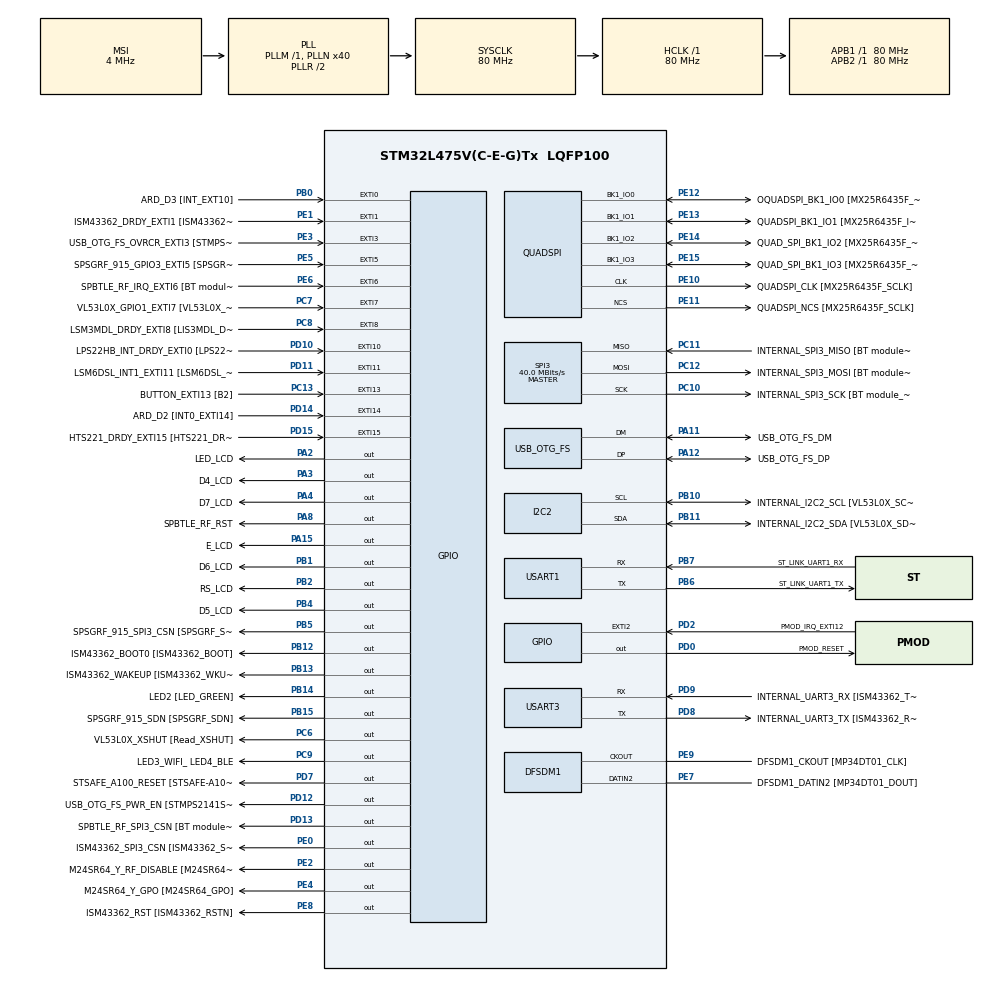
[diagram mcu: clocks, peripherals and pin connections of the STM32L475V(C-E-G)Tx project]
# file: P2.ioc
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Mcu.Family=STM32L4
Mcu.Name=STM32L475V(C-E-G)Tx
Mcu.Package=LQFP100
NVIC.EXTI15_10_IRQn=true\:0\:0\:false\:false\:true\:true\:true
NVIC.EXTI9_5_IRQn=true\:0\:0\:false\:false\:true\:true\:true
NVIC.PriorityGroup=NVIC_PRIORITYGROUP_4
PA0.GPIO_Label=ARD_D1 [UART4_TX]
PA0.Signal=UART4_TX
PA1.GPIO_Label=ARD_D0 [UART4_RX]
PA1.Signal=UART4_RX
PA10.GPIO_Label=USB_OTG_FS_ID
PA10.Signal=USB_OTG_FS_ID
PA11.GPIO_Label=USB_OTG_FS_DM
PA11.Mode=Device_Only
PA11.Signal=USB_OTG_FS_DM
PA12.GPIO_Label=USB_OTG_FS_DP
PA12.Mode=Device_Only
PA12.Signal=USB_OTG_FS_DP
PA13\ (JTMS-SWDIO).GPIO_Label=SYS_JTMS_SWDIO
PA13\ (JTMS-SWDIO).Mode=Serial_Wire
PA13\ (JTMS-SWDIO).Signal=SYS_JTMS-SWDIO
PA14\ (JTCK-SWCLK).GPIO_Label=SYS_JTCK_SWCLK
PA14\ (JTCK-SWCLK).Mode=Serial_Wire
PA14\ (JTCK-SWCLK).Signal=SYS_JTCK-SWCLK
PA15\ (JTDI).GPIO_Label=E_LCD
PA15\ (JTDI).Signal=GPIO_Output
PA2.GPIO_Label=LED_LCD
PA2.Signal=GPIO_Output
PA3.GPIO_Label=D4_LCD
PA3.Signal=GPIO_Output
PA4.GPIO_Label=D7_LCD
PA4.Signal=GPIO_Output
PA5.GPIO_Label=ARD_D13 [SPI1_SCK]
PA5.Signal=SPI1_SCK
PA6.GPIO_Label=ARD_D12 [SPI1_MISO]
PA6.Signal=SPI1_MISO
PA7.GPIO_Label=ARD_D11 [SPI1_MOSI]
PA7.Signal=SPI1_MOSI
PA8.GPIO_Label=SPBTLE_RF_RST
PA8.Signal=GPIO_Output
PA9.GPIO_Label=USB_OTG_FS_VBUS [STMPS2141STR_OUT]
PA9.Signal=USB_OTG_FS_VBUS
PB0.GPIO_Label=ARD_D3 [INT_EXT10]
PB0.Signal=GPXTI0
PB1.GPIO_Label=D6_LCD
PB1.Signal=GPIO_Output
PB10.GPIO_Label=INTERNAL_I2C2_SCL [VL53L0X_SCL]
PB10.Mode=I2C
PB10.Signal=I2C2_SCL
PB11.GPIO_Label=INTERNAL_I2C2_SDA [VL53L0X_SDA]
PB11.Mode=I2C
PB11.Signal=I2C2_SDA
PB12.GPIO_Label=ISM43362_BOOT0 [ISM43362_BOOT]
PB12.Signal=GPIO_Output
PB13.GPIO_Label=ISM43362_WAKEUP [ISM43362_WKUP]
PB13.Signal=GPIO_Output
PB14.GPIO_Label=LED2 [LED_GREEN]
PB14.Signal=GPIO_Output
PB15.GPIO_Label=SPSGRF_915_SDN [SPSGRF_SDN]
PB15.Signal=GPIO_Output
PB2.GPIO_Label=RS_LCD
PB2.Signal=GPIO_Output
PB3\ (JTDO-TRACESWO).GPIO_Label=SYS_JTD0_SWO
PB3\ (JTDO-TRACESWO).Signal=SYS_JTDO-SWO
PB4\ (NJTRST).GPIO_Label=D5_LCD
PB4\ (NJTRST).Signal=GPIO_Output
PB5.GPIO_Label=SPSGRF_915_SPI3_CSN [SPSGRF_SPI_CS]
PB5.PinState=GPIO_PIN_SET
PB5.Signal=GPIO_Output
PB6.GPIO_Label=ST_LINK_UART1_TX
PB6.Mode=Asynchronous
PB6.Signal=USART1_TX
PB7.GPIO_Label=ST_LINK_UART1_RX
PB7.Mode=Asynchronous
PB7.Signal=USART1_RX
PB8.GPIO_Label=ARD_D15 [I2C1_SCL]
PB8.Signal=I2C1_SCL
PB9.GPIO_Label=ARD_D14 [I2C1_SDA]
PB9.Signal=I2C1_SDA
PC0.GPIO_Label=ARD_A5 [ADC]
PC0.Signal=ADCx_IN1
PC1.GPIO_Label=ARD_A4 [ADC]
PC1.Signal=ADCx_IN2
PC10.GPIO_Label=INTERNAL_SPI3_SCK [BT module_SPI_SCLK] [ISM43362_SCK]
PC10.Mode=Full_Duplex_Master
PC10.Signal=SPI3_SCK
PC11.GPIO_Label=INTERNAL_SPI3_MISO [BT module_SPI_MISO] [ISM43362_MISO]
PC11.Mode=Full_Duplex_Master
PC11.Signal=SPI3_MISO
PC12.GPIO_Label=INTERNAL_SPI3_MOSI [BT module_SPI_MOSI] [ISM43362_MOSI]
PC12.Mode=Full_Duplex_Master
PC12.Signal=SPI3_MOSI
PC13.GPIO_Label=BUTTON_EXTI13 [B2]
PC13.GPIO_ModeDefaultEXTI=GPIO_MODE_IT_FALLING
PC13.Signal=GPXTI13
PC14-OSC32_IN\ (PC14).Mode=LSE-External-Oscillator
PC14-OSC32_IN\ (PC14).Signal=RCC_OSC32_IN
PC15-OSC32_OUT\ (PC15).Mode=LSE-External-Oscillator
PC15-OSC32_OUT\ (PC15).Signal=RCC_OSC32_OUT
PC2.GPIO_Label=ARD_A3 [ADC]
PC2.Signal=ADCx_IN3
PC3.GPIO_Label=ARD_A2 [ADC]
PC3.Signal=ADCx_IN4
PC4.GPIO_Label=ARD_A1 [ADC]
PC4.Signal=ADCx_IN13
PC5.GPIO_Label=ARD_A0 [ADC]
PC5.Signal=ADCx_IN14
PC6.GPIO_Label=VL53L0X_XSHUT [Read_XSHUT]
PC6.Signal=GPIO_Output
PC7.GPIO_Label=VL53L0X_GPIO1_EXTI7 [VL53L0X_GPIO1]
PC7.Signal=GPXTI7
PC8.GPIO_Label=LSM3MDL_DRDY_EXTI8 [LIS3MDL_DRDY]
PC8.Signal=GPXTI8
PC9.GPIO_Label=LED3_WIFI_ LED4_BLE
PC9.Signal=GPIO_Output
PD0.GPIO_Label=PMOD_RESET
PD0.Signal=GPIO_Output
PD1.GPIO_Label=PMOD_SPI2_SCK
PD1.Signal=SPI2_SCK
PD10.GPIO_Label=LPS22HB_INT_DRDY_EXTI0 [LPS22HB_INT_DRDY] 
PD10.Signal=GPXTI10
PD11.GPIO_Label=LSM6DSL_INT1_EXTI11 [LSM6DSL_INT1]
PD11.Signal=GPXTI11
PD12.GPIO_Label=USB_OTG_FS_PWR_EN [STMPS2141STR_EN]
PD12.Signal=GPIO_Output
PD13.GPIO_Label=SPBTLE_RF_SPI3_CSN [BT module_SPI_CS]
PD13.PinState=GPIO_PIN_SET
PD13.Signal=GPIO_Output
PD14.GPIO_Label=ARD_D2 [INT0_EXTI14]
PD14.Signal=GPXTI14
PD15.GPIO_Label=HTS221_DRDY_EXTI15 [HTS221_DRDY]
PD15.Signal=GPXTI15
PD2.GPIO_Label=PMOD_IRQ_EXTI12
PD2.Signal=GPXTI2
PD3.GPIO_Label=PMOD_UART2_CTS
PD3.Signal=USART2_CTS
PD4.GPIO_Label=PMOD_UART2_RTS
PD4.Signal=USART2_RTS
PD5.GPIO_Label=PMOD_UART2_TX
PD5.Signal=USART2_TX
PD6.GPIO_Label=PMOD_UART2_RX
PD6.Signal=USART2_RX
PD7.GPIO_Label=STSAFE_A100_RESET [STSAFE-A100_RESET]
PD7.Signal=GPIO_Output
PD8.GPIO_Label=INTERNAL_UART3_TX [ISM43362_RX]
PD8.Mode=Asynchronous
PD8.Signal=USART3_TX
PD9.GPIO_Label=INTERNAL_UART3_RX [ISM43362_TX]
PD9.Mode=Asynchronous
PD9.Signal=USART3_RX
PE0.GPIO_Label=ISM43362_SPI3_CSN [ISM43362_SSN]
PE0.PinState=GPIO_PIN_SET
PE0.Signal=GPIO_Output
PE1.GPIO_Label=ISM43362_DRDY_EXTI1 [ISM43362_DATARDY]
PE1.Signal=GPXTI1
PE10.GPIO_Label=QUADSPI_CLK [MX25R6435F_SCLK]
PE10.Mode=Single Bank
PE10.Signal=QUADSPI_CLK
PE11.GPIO_Label=QUADSPI_NCS [MX25R6435F_SCLK]
PE11.Mode=Single Bank
PE11.Signal=QUADSPI_NCS
PE12.GPIO_Label=OQUADSPI_BK1_IO0 [MX25R6435F_IO0]
PE12.Mode=Single Bank
PE12.Signal=QUADSPI_BK1_IO0
PE13.GPIO_Label=QUADSPI_BK1_IO1 [MX25R6435F_IO1]
PE13.Mode=Single Bank
PE13.Signal=QUADSPI_BK1_IO1
PE14.GPIO_Label=QUAD_SPI_BK1_IO2 [MX25R6435F_IO2]
PE14.Mode=Single Bank
PE14.Signal=QUADSPI_BK1_IO2
PE15.GPIO_Label=QUAD_SPI_BK1_IO3 [MX25R6435F_IO3]
PE15.Mode=Single Bank
PE15.Signal=QUADSPI_BK1_IO3
PE2.GPIO_Label=M24SR64_Y_RF_DISABLE [M24SR64_RFDIS]
PE2.Signal=GPIO_Output
PE3.GPIO_Label=USB_OTG_FS_OVRCR_EXTI3 [STMPS2141STR_FAULT]
PE3.Signal=GPXTI3
PE4.GPIO_Label=M24SR64_Y_GPO [M24SR64_GPO]
PE4.Signal=GPIO_Output
PE5.GPIO_Label=SPSGRF_915_GPIO3_EXTI5 [SPSGRF_GPIO_3]
PE5.Signal=GPXTI5
PE6.GPIO_Label=SPBTLE_RF_IRQ_EXTI6 [BT module_SPI_IRQ]
PE6.Signal=GPXTI6
PE7.GPIO_Label=DFSDM1_DATIN2 [MP34DT01_DOUT]
PE7.Signal=S_DATAIN2DFSDM1
PE8.GPIO_Label=ISM43362_RST [ISM43362_RSTN]
PE8.Signal=GPIO_Output
PE9.GPIO_Label=DFSDM1_CKOUT [MP34DT01_CLK]
PE9.Signal=S_CKOUTDFSDM1
ProjectManager.HeapSize=0x200
ProjectManager.StackSize=0x400
ProjectManager.TargetToolchain=STM32CubeIDE
RCC.ADCFreq_Value=48000000
RCC.AHBFreq_Value=80000000
RCC.APB1Freq_Value=80000000
RCC.APB1TimFreq_Value=80000000
RCC.APB2Freq_Value=80000000
RCC.APB2TimFreq_Value=80000000
RCC.CortexFreq_Value=80000000
RCC.HCLKFreq_Value=80000000
RCC.HSE_VALUE=8000000
RCC.HSI_VALUE=16000000
RCC.MSI_VALUE=4000000
RCC.PLLN=40
RCC.PLLSAI1N=24
RCC.SYSCLKFreq_VALUE=80000000
RCC.SYSCLKSource=RCC_SYSCLKSOURCE_PLLCLK
RCC.USBFreq_Value=48000000
RCC.VCOOutputFreq_Value=160000000
SH.ADCx_IN1.0=ADC1_IN1
SH.ADCx_IN13.0=ADC1_IN13
SH.ADCx_IN14.0=ADC1_IN14
SH.ADCx_IN2.0=ADC1_IN2
SH.ADCx_IN3.0=ADC1_IN3
SH.ADCx_IN4.0=ADC1_IN4
SH.S_CKOUTDFSDM1.0=DFSDM1_CKOUT,CKOUT
SH.S_CKOUTDFSDM1.1=DFSDM1_CKOUT,PDM_SPI_Input_from_ch12_and_Internal_Clock
SH.S_DATAIN2DFSDM1.0=DFSDM1_DATIN2,PDM_SPI_Input_from_ch12_and_Internal_Clock
SPI3.CalculateBaudRate=40.0 MBits/s
SPI3.Direction=SPI_DIRECTION_2LINES
SPI3.Mode=SPI_MODE_MASTER
SPI3.VirtualType=VM_MASTER
USART1.VirtualMode-Asynchronous=VM_ASYNC
USART3.VirtualMode-Asynchronous=VM_ASYNC
USB_OTG_FS.VirtualMode=Device_Only
board=B-L475E-IOT01A1

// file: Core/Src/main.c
/* USER CODE BEGIN Header */
/**
  ******************************************************************************
  * @file           : main.c
  * @brief          : Main program body
  ******************************************************************************
  * @attention
  *
  * <h2><center>&copy; Copyright (c) 2021 STMicroelectronics.
  * All rights reserved.</center></h2>
  *
  * This software component is licensed by ST under BSD 3-Clause license,
  * the "License"; You may not use this file except in compliance with the
  * License. You may obtain a copy of the License at:
  *                        opensource.org/licenses/BSD-3-Clause
  *
  ******************************************************************************
  */
/* USER CODE END Header */

#include "main.h"

/* USER CODE BEGIN Includes */
#include "hd44780.h"
/* USER CODE END Includes */

DFSDM_Channel_HandleTypeDef hdfsdm1_channel1;

I2C_HandleTypeDef hi2c2;

QSPI_HandleTypeDef hqspi;

SPI_HandleTypeDef hspi3;

UART_HandleTypeDef huart1;
UART_HandleTypeDef huart3;

PCD_HandleTypeDef hpcd_USB_OTG_FS;

void SystemClock_Config(void);
static void MX_GPIO_Init(void);
static void MX_DFSDM1_Init(void);
static void MX_I2C2_Init(void);
static void MX_QUADSPI_Init(void);
static void MX_SPI3_Init(void);
static void MX_USART1_UART_Init(void);
static void MX_USART3_UART_Init(void);
static void MX_USB_OTG_FS_PCD_Init(void);

int main(void)
{

  /* MCU Configuration--------------------------------------------------------*/

  /* Reset of all peripherals, Initializes the Flash interface and the Systick. */
  HAL_Init();

  /* Configure the system clock */
  SystemClock_Config();

  /* Initialize all configured peripherals */
  MX_GPIO_Init();
  MX_DFSDM1_Init();
  MX_I2C2_Init();
  MX_QUADSPI_Init();
  MX_SPI3_Init();
  MX_USART1_UART_Init();
  MX_USART3_UART_Init();
  MX_USB_OTG_FS_PCD_Init();
  /* USER CODE BEGIN 2 */
  //Fase 1.1
  LL_GPIO_SetOutputPin(GPIOA, LED_LCD_Pin);
//  LL_GPIO_SetOutputPin(Led_LCD_GPIO_Port, Led_LCD_Pin); //Tambien puede ser usado esta funcion en vez de la anterior
  lcd_reset();
  lcd_display_settings(1,0,0);
  lcd_clear();
//  lcd_print("Hola mundo");
//  lcd_print("Hola, esto es una prueba"); //Este mensaje se sale del display
//  lcd_print(HAL_GetDEVID());
//  writeIntegerToLCD(HAL_GetDEVID());

  //Fase 1.2
  lcd_cgram_address(0); // se selecciona la dirección 0 de la CGRAM, patrón con código 0
  lcd_write(0x15, 1); //se va cargando con los bytes del patrón de cada fila de la CGRAM
  lcd_write(0x15, 1);
  lcd_write(0xe, 1);
  lcd_write(0x4, 1);
  lcd_write(0x4, 1);
  lcd_write(0xa, 1);
  lcd_write(0x11, 1);
  lcd_write(0x00, 1);
  lcd_cgram_address(8); //se selecciona la dirección 8 de la CGRAM, patrón con código 1
  lcd_write(0x4, 1); // se va cargando con los bytes del patrón de cada fila de la CGRAM
  lcd_write(0x4, 1);
  lcd_write(0xe, 1);
  lcd_write(0x15, 1);
  lcd_write(0x15, 1);
  lcd_write(0xa, 1);
  lcd_write(0xa, 1);
  lcd_write(0x00, 1);
  lcd_display_address(0); //Vuelve a direccionar la DDRAM para visualizar datos en pantalla

  /* USER CODE END 2 */

  /* Infinite loop */
  /* USER CODE BEGIN WHILE */
  HAL_SYSTICK_Config(0xffffff);

  while (1)
  {
    /* USER CODE END WHILE */
	  //Fase 1.3
	  moveToXY(1,7); //sitúa el cursor en la posición fila 1 columna 7, primer muñeco
	  lcd_write(0,1); //escribe el nuevo patrón 0 en la DDRAM
	  moveToXY(1,8); //sitúa el cursor en la posición fila 1 columna 8, segundo muñeco
	  lcd_write(0,1);
	  HAL_Delay(1); //retraso de 1 segundo para dejar ver la figura en pantalla

	  moveToXY(1,7);
	  lcd_write(1,1); //escribe el nuevo patrón 0 en la DDRAM
	  moveToXY(1,8);
	  lcd_write(1,1);
	  HAL_Delay(1);

	  //Fase 2.1
//	  if (LL_GPIO_IsInputPinSet(BUTTON_EXTI13_GPIO_Port, BUTTON_EXTI13_Pin)){
//		  LL_GPIO_ResetOutputPin(LED2_GPIO_Port, LED2_Pin);
////		  LL_GPIO_SetOutputPin(LED2_GPIO_Port, LED2_Pin);
//	  }else{
//		  LL_GPIO_SetOutputPin(LED2_GPIO_Port, LED2_Pin);
////		  LL_GPIO_ResetOutputPin(LED2_GPIO_Port, LED2_Pin);
//	  }

	  //JUEGO
//	  moveToXY(1,5);
//	  lcd_write(1,1);
//	  moveToXY(1,7);
//	  lcd_write(0,1);
//	  moveToXY(1,9);
//	  lcd_write(1,1);
//	  HAL_Delay(500);
//
//	  moveToXY(1,5);
//	  lcd_write(0,1);
//	  moveToXY(1,7);
//	  lcd_write(1,1);
//	  moveToXY(1,9);
//	  lcd_write(0,1);
//	  HAL_Delay(500);

  }
}

void SystemClock_Config(void)
{
  RCC_OscInitTypeDef RCC_OscInitStruct = {0};
  RCC_ClkInitTypeDef RCC_ClkInitStruct = {0};
  RCC_PeriphCLKInitTypeDef PeriphClkInit = {0};

  /** Configure LSE Drive Capability
  */
  HAL_PWR_EnableBkUpAccess();
  __HAL_RCC_LSEDRIVE_CONFIG(RCC_LSEDRIVE_LOW);
  /** Initializes the CPU, AHB and APB busses clocks
  */
  RCC_OscInitStruct.OscillatorType = RCC_OSCILLATORTYPE_LSE|RCC_OSCILLATORTYPE_MSI;
  RCC_OscInitStruct.LSEState = RCC_LSE_ON;
  RCC_OscInitStruct.MSIState = RCC_MSI_ON;
  RCC_OscInitStruct.MSICalibrationValue = 0;
  RCC_OscInitStruct.MSIClockRange = RCC_MSIRANGE_6;
  RCC_OscInitStruct.PLL.PLLState = RCC_PLL_ON;
  RCC_OscInitStruct.PLL.PLLSource = RCC_PLLSOURCE_MSI;
  RCC_OscInitStruct.PLL.PLLM = 1;
  RCC_OscInitStruct.PLL.PLLN = 40;
  RCC_OscInitStruct.PLL.PLLP = RCC_PLLP_DIV7;
  RCC_OscInitStruct.PLL.PLLQ = RCC_PLLQ_DIV2;
  RCC_OscInitStruct.PLL.PLLR = RCC_PLLR_DIV2;
  if (HAL_RCC_OscConfig(&RCC_OscInitStruct) != HAL_OK)
  {
    Error_Handler();
  }
  /** Initializes the CPU, AHB and APB busses clocks
  */
  RCC_ClkInitStruct.ClockType = RCC_CLOCKTYPE_HCLK|RCC_CLOCKTYPE_SYSCLK
                              |RCC_CLOCKTYPE_PCLK1|RCC_CLOCKTYPE_PCLK2;
  RCC_ClkInitStruct.SYSCLKSource = RCC_SYSCLKSOURCE_PLLCLK;
  RCC_ClkInitStruct.AHBCLKDivider = RCC_SYSCLK_DIV1;
  RCC_ClkInitStruct.APB1CLKDivider = RCC_HCLK_DIV1;
  RCC_ClkInitStruct.APB2CLKDivider = RCC_HCLK_DIV1;

  if (HAL_RCC_ClockConfig(&RCC_ClkInitStruct, FLASH_LATENCY_4) != HAL_OK)
  {
    Error_Handler();
  }
  PeriphClkInit.PeriphClockSelection = RCC_PERIPHCLK_USART1|RCC_PERIPHCLK_USART3
                              |RCC_PERIPHCLK_I2C2|RCC_PERIPHCLK_DFSDM1
                              |RCC_PERIPHCLK_USB;
  PeriphClkInit.Usart1ClockSelection = RCC_USART1CLKSOURCE_PCLK2;
  PeriphClkInit.Usart3ClockSelection = RCC_USART3CLKSOURCE_PCLK1;
  PeriphClkInit.I2c2ClockSelection = RCC_I2C2CLKSOURCE_PCLK1;
  PeriphClkInit.Dfsdm1ClockSelection = RCC_DFSDM1CLKSOURCE_PCLK;
  PeriphClkInit.UsbClockSelection = RCC_USBCLKSOURCE_PLLSAI1;
  PeriphClkInit.PLLSAI1.PLLSAI1Source = RCC_PLLSOURCE_MSI;
  PeriphClkInit.PLLSAI1.PLLSAI1M = 1;
  PeriphClkInit.PLLSAI1.PLLSAI1N = 24;
  PeriphClkInit.PLLSAI1.PLLSAI1P = RCC_PLLP_DIV7;
  PeriphClkInit.PLLSAI1.PLLSAI1Q = RCC_PLLQ_DIV2;
  PeriphClkInit.PLLSAI1.PLLSAI1R = RCC_PLLR_DIV2;
  PeriphClkInit.PLLSAI1.PLLSAI1ClockOut = RCC_PLLSAI1_48M2CLK;
  if (HAL_RCCEx_PeriphCLKConfig(&PeriphClkInit) != HAL_OK)
  {
    Error_Handler();
  }
  /** Configure the main internal regulator output voltage
  */
  if (HAL_PWREx_ControlVoltageScaling(PWR_REGULATOR_VOLTAGE_SCALE1) != HAL_OK)
  {
    Error_Handler();
  }
  /** Enable MSI Auto calibration
  */
  HAL_RCCEx_EnableMSIPLLMode();
}

static void MX_DFSDM1_Init(void)
{

  hdfsdm1_channel1.Instance = DFSDM1_Channel1;
  hdfsdm1_channel1.Init.OutputClock.Activation = ENABLE;
  hdfsdm1_channel1.Init.OutputClock.Selection = DFSDM_CHANNEL_OUTPUT_CLOCK_SYSTEM;
  hdfsdm1_channel1.Init.OutputClock.Divider = 2;
  hdfsdm1_channel1.Init.Input.Multiplexer = DFSDM_CHANNEL_EXTERNAL_INPUTS;
  hdfsdm1_channel1.Init.Input.DataPacking = DFSDM_CHANNEL_STANDARD_MODE;
  hdfsdm1_channel1.Init.Input.Pins = DFSDM_CHANNEL_FOLLOWING_CHANNEL_PINS;
  hdfsdm1_channel1.Init.SerialInterface.Type = DFSDM_CHANNEL_SPI_RISING;
  hdfsdm1_channel1.Init.SerialInterface.SpiClock = DFSDM_CHANNEL_SPI_CLOCK_INTERNAL;
  hdfsdm1_channel1.Init.Awd.FilterOrder = DFSDM_CHANNEL_FASTSINC_ORDER;
  hdfsdm1_channel1.Init.Awd.Oversampling = 1;
  hdfsdm1_channel1.Init.Offset = 0;
  hdfsdm1_channel1.Init.RightBitShift = 0x00;
  if (HAL_DFSDM_ChannelInit(&hdfsdm1_channel1) != HAL_OK)
  {
    Error_Handler();
  }

}

static void MX_I2C2_Init(void)
{

  hi2c2.Instance = I2C2;
  hi2c2.Init.Timing = 0x00000E14;
  hi2c2.Init.OwnAddress1 = 0;
  hi2c2.Init.AddressingMode = I2C_ADDRESSINGMODE_7BIT;
  hi2c2.Init.DualAddressMode = I2C_DUALADDRESS_DISABLE;
  hi2c2.Init.OwnAddress2 = 0;
  hi2c2.Init.OwnAddress2Masks = I2C_OA2_NOMASK;
  hi2c2.Init.GeneralCallMode = I2C_GENERALCALL_DISABLE;
  hi2c2.Init.NoStretchMode = I2C_NOSTRETCH_DISABLE;
  if (HAL_I2C_Init(&hi2c2) != HAL_OK)
  {
    Error_Handler();
  }
  /** Configure Analogue filter
  */
  if (HAL_I2CEx_ConfigAnalogFilter(&hi2c2, I2C_ANALOGFILTER_ENABLE) != HAL_OK)
  {
    Error_Handler();
  }
  /** Configure Digital filter
  */
  if (HAL_I2CEx_ConfigDigitalFilter(&hi2c2, 0) != HAL_OK)
  {
    Error_Handler();
  }

}

static void MX_QUADSPI_Init(void)
{

  /* QUADSPI parameter configuration*/
  hqspi.Instance = QUADSPI;
  hqspi.Init.ClockPrescaler = 255;
  hqspi.Init.FifoThreshold = 1;
  hqspi.Init.SampleShifting = QSPI_SAMPLE_SHIFTING_NONE;
  hqspi.Init.FlashSize = 1;
  hqspi.Init.ChipSelectHighTime = QSPI_CS_HIGH_TIME_1_CYCLE;
  hqspi.Init.ClockMode = QSPI_CLOCK_MODE_0;
  if (HAL_QSPI_Init(&hqspi) != HAL_OK)
  {
    Error_Handler();
  }

}

static void MX_SPI3_Init(void)
{

  /* SPI3 parameter configuration*/
  hspi3.Instance = SPI3;
  hspi3.Init.Mode = SPI_MODE_MASTER;
  hspi3.Init.Direction = SPI_DIRECTION_2LINES;
  hspi3.Init.DataSize = SPI_DATASIZE_4BIT;
  hspi3.Init.CLKPolarity = SPI_POLARITY_LOW;
  hspi3.Init.CLKPhase = SPI_PHASE_1EDGE;
  hspi3.Init.NSS = SPI_NSS_SOFT;
  hspi3.Init.BaudRatePrescaler = SPI_BAUDRATEPRESCALER_2;
  hspi3.Init.FirstBit = SPI_FIRSTBIT_MSB;
  hspi3.Init.TIMode = SPI_TIMODE_DISABLE;
  hspi3.Init.CRCCalculation = SPI_CRCCALCULATION_DISABLE;
  hspi3.Init.CRCPolynomial = 7;
  hspi3.Init.CRCLength = SPI_CRC_LENGTH_DATASIZE;
  hspi3.Init.NSSPMode = SPI_NSS_PULSE_ENABLE;
  if (HAL_SPI_Init(&hspi3) != HAL_OK)
  {
    Error_Handler();
  }

}

static void MX_USART1_UART_Init(void)
{

  huart1.Instance = USART1;
  huart1.Init.BaudRate = 115200;
  huart1.Init.WordLength = UART_WORDLENGTH_8B;
  huart1.Init.StopBits = UART_STOPBITS_1;
  huart1.Init.Parity = UART_PARITY_NONE;
  huart1.Init.Mode = UART_MODE_TX_RX;
  huart1.Init.HwFlowCtl = UART_HWCONTROL_NONE;
  huart1.Init.OverSampling = UART_OVERSAMPLING_16;
  huart1.Init.OneBitSampling = UART_ONE_BIT_SAMPLE_DISABLE;
  huart1.AdvancedInit.AdvFeatureInit = UART_ADVFEATURE_NO_INIT;
  if (HAL_UART_Init(&huart1) != HAL_OK)
  {
    Error_Handler();
  }

}

static void MX_USART3_UART_Init(void)
{

  huart3.Instance = USART3;
  huart3.Init.BaudRate = 115200;
  huart3.Init.WordLength = UART_WORDLENGTH_8B;
  huart3.Init.StopBits = UART_STOPBITS_1;
  huart3.Init.Parity = UART_PARITY_NONE;
  huart3.Init.Mode = UART_MODE_TX_RX;
  huart3.Init.HwFlowCtl = UART_HWCONTROL_NONE;
  huart3.Init.OverSampling = UART_OVERSAMPLING_16;
  huart3.Init.OneBitSampling = UART_ONE_BIT_SAMPLE_DISABLE;
  huart3.AdvancedInit.AdvFeatureInit = UART_ADVFEATURE_NO_INIT;
  if (HAL_UART_Init(&huart3) != HAL_OK)
  {
    Error_Handler();
  }

}

static void MX_USB_OTG_FS_PCD_Init(void)
{

  hpcd_USB_OTG_FS.Instance = USB_OTG_FS;
  hpcd_USB_OTG_FS.Init.dev_endpoints = 6;
  hpcd_USB_OTG_FS.Init.speed = PCD_SPEED_FULL;
  hpcd_USB_OTG_FS.Init.phy_itface = PCD_PHY_EMBEDDED;
  hpcd_USB_OTG_FS.Init.Sof_enable = DISABLE;
  hpcd_USB_OTG_FS.Init.low_power_enable = DISABLE;
  hpcd_USB_OTG_FS.Init.lpm_enable = DISABLE;
  hpcd_USB_OTG_FS.Init.battery_charging_enable = DISABLE;
  hpcd_USB_OTG_FS.Init.use_dedicated_ep1 = DISABLE;
  hpcd_USB_OTG_FS.Init.vbus_sensing_enable = DISABLE;
  if (HAL_PCD_Init(&hpcd_USB_OTG_FS) != HAL_OK)
  {
    Error_Handler();
  }

}

static void MX_GPIO_Init(void)
{
  LL_EXTI_InitTypeDef EXTI_InitStruct = {0};
  LL_GPIO_InitTypeDef GPIO_InitStruct = {0};

  /* GPIO Ports Clock Enable */
  LL_AHB2_GRP1_EnableClock(LL_AHB2_GRP1_PERIPH_GPIOE);
  LL_AHB2_GRP1_EnableClock(LL_AHB2_GRP1_PERIPH_GPIOC);
  LL_AHB2_GRP1_EnableClock(LL_AHB2_GRP1_PERIPH_GPIOA);
  LL_AHB2_GRP1_EnableClock(LL_AHB2_GRP1_PERIPH_GPIOB);
  LL_AHB2_GRP1_EnableClock(LL_AHB2_GRP1_PERIPH_GPIOD);

  /**/
  LL_GPIO_ResetOutputPin(GPIOE, M24SR64_Y_RF_DISABLE_Pin|M24SR64_Y_GPO_Pin|ISM43362_RST_Pin);

  /**/
  LL_GPIO_ResetOutputPin(GPIOA, LED_LCD_Pin|D4_LCD_Pin|D7_LCD_Pin|SPBTLE_RF_RST_Pin
                          |E_LCD_Pin);

  /**/
  LL_GPIO_ResetOutputPin(GPIOB, D6_LCD_Pin|RS_LCD_Pin|ISM43362_BOOT0_Pin|ISM43362_WAKEUP_Pin
                          |LED2_Pin|SPSGRF_915_SDN_Pin|D5_LCD_Pin);

  /**/
  LL_GPIO_ResetOutputPin(GPIOD, USB_OTG_FS_PWR_EN_Pin|PMOD_RESET_Pin|STSAFE_A100_RESET_Pin);

  /**/
  LL_GPIO_ResetOutputPin(GPIOC, VL53L0X_XSHUT_Pin|LED3_WIFI__LED4_BLE_Pin);

  /**/
  LL_GPIO_SetOutputPin(SPBTLE_RF_SPI3_CSN_GPIO_Port, SPBTLE_RF_SPI3_CSN_Pin);

  /**/
  LL_GPIO_SetOutputPin(SPSGRF_915_SPI3_CSN_GPIO_Port, SPSGRF_915_SPI3_CSN_Pin);

  /**/
  LL_GPIO_SetOutputPin(ISM43362_SPI3_CSN_GPIO_Port, ISM43362_SPI3_CSN_Pin);

  /**/
  GPIO_InitStruct.Pin = M24SR64_Y_RF_DISABLE_Pin|M24SR64_Y_GPO_Pin|ISM43362_RST_Pin|ISM43362_SPI3_CSN_Pin;
  GPIO_InitStruct.Mode = LL_GPIO_MODE_OUTPUT;
  GPIO_InitStruct.Speed = LL_GPIO_SPEED_FREQ_LOW;
  GPIO_InitStruct.OutputType = LL_GPIO_OUTPUT_PUSHPULL;
  GPIO_InitStruct.Pull = LL_GPIO_PULL_NO;
  LL_GPIO_Init(GPIOE, &GPIO_InitStruct);

  /**/
  GPIO_InitStruct.Pin = ARD_A5_Pin|ARD_A4_Pin|ARD_A3_Pin|ARD_A2_Pin
                          |ARD_A1_Pin|ARD_A0_Pin;
  GPIO_InitStruct.Mode = LL_GPIO_MODE_ANALOG;
  GPIO_InitStruct.Pull = LL_GPIO_PULL_NO;
  LL_GPIO_Init(GPIOC, &GPIO_InitStruct);

  /**/
  GPIO_InitStruct.Pin = ARD_D1_Pin|ARD_D0_Pin;
  GPIO_InitStruct.Mode = LL_GPIO_MODE_ALTERNATE;
  GPIO_InitStruct.Speed = LL_GPIO_SPEED_FREQ_VERY_HIGH;
  GPIO_InitStruct.OutputType = LL_GPIO_OUTPUT_PUSHPULL;
  GPIO_InitStruct.Pull = LL_GPIO_PULL_NO;
  GPIO_InitStruct.Alternate = LL_GPIO_AF_8;
  LL_GPIO_Init(GPIOA, &GPIO_InitStruct);

  /**/
  GPIO_InitStruct.Pin = LED_LCD_Pin|D4_LCD_Pin|D7_LCD_Pin|SPBTLE_RF_RST_Pin
                          |E_LCD_Pin;
  GPIO_InitStruct.Mode = LL_GPIO_MODE_OUTPUT;
  GPIO_InitStruct.Speed = LL_GPIO_SPEED_FREQ_LOW;
  GPIO_InitStruct.OutputType = LL_GPIO_OUTPUT_PUSHPULL;
  GPIO_InitStruct.Pull = LL_GPIO_PULL_NO;
  LL_GPIO_Init(GPIOA, &GPIO_InitStruct);

  /**/
  GPIO_InitStruct.Pin = ARD_D13_Pin|ARD_D12_Pin|ARD_D11_Pin;
  GPIO_InitStruct.Mode = LL_GPIO_MODE_ALTERNATE;
  GPIO_InitStruct.Speed = LL_GPIO_SPEED_FREQ_VERY_HIGH;
  GPIO_InitStruct.OutputType = LL_GPIO_OUTPUT_PUSHPULL;
  GPIO_InitStruct.Pull = LL_GPIO_PULL_NO;
  GPIO_InitStruct.Alternate = LL_GPIO_AF_5;
  LL_GPIO_Init(GPIOA, &GPIO_InitStruct);

  /**/
  GPIO_InitStruct.Pin = D6_LCD_Pin|RS_LCD_Pin|ISM43362_BOOT0_Pin|ISM43362_WAKEUP_Pin
                          |LED2_Pin|SPSGRF_915_SDN_Pin|D5_LCD_Pin|SPSGRF_915_SPI3_CSN_Pin;
  GPIO_InitStruct.Mode = LL_GPIO_MODE_OUTPUT;
  GPIO_InitStruct.Speed = LL_GPIO_SPEED_FREQ_LOW;
  GPIO_InitStruct.OutputType = LL_GPIO_OUTPUT_PUSHPULL;
  GPIO_InitStruct.Pull = LL_GPIO_PULL_NO;
  LL_GPIO_Init(GPIOB, &GPIO_InitStruct);

  /**/
  GPIO_InitStruct.Pin = USB_OTG_FS_PWR_EN_Pin|SPBTLE_RF_SPI3_CSN_Pin|PMOD_RESET_Pin|STSAFE_A100_RESET_Pin;
  GPIO_InitStruct.Mode = LL_GPIO_MODE_OUTPUT;
  GPIO_InitStruct.Speed = LL_GPIO_SPEED_FREQ_LOW;
  GPIO_InitStruct.OutputType = LL_GPIO_OUTPUT_PUSHPULL;
  GPIO_InitStruct.Pull = LL_GPIO_PULL_NO;
  LL_GPIO_Init(GPIOD, &GPIO_InitStruct);

  /**/
  GPIO_InitStruct.Pin = VL53L0X_XSHUT_Pin|LED3_WIFI__LED4_BLE_Pin;
  GPIO_InitStruct.Mode = LL_GPIO_MODE_OUTPUT;
  GPIO_InitStruct.Speed = LL_GPIO_SPEED_FREQ_LOW;
  GPIO_InitStruct.OutputType = LL_GPIO_OUTPUT_PUSHPULL;
  GPIO_InitStruct.Pull = LL_GPIO_PULL_NO;
  LL_GPIO_Init(GPIOC, &GPIO_InitStruct);

  /**/
  GPIO_InitStruct.Pin = PMOD_SPI2_SCK_Pin;
  GPIO_InitStruct.Mode = LL_GPIO_MODE_ALTERNATE;
  GPIO_InitStruct.Speed = LL_GPIO_SPEED_FREQ_VERY_HIGH;
  GPIO_InitStruct.OutputType = LL_GPIO_OUTPUT_PUSHPULL;
  GPIO_InitStruct.Pull = LL_GPIO_PULL_NO;
  GPIO_InitStruct.Alternate = LL_GPIO_AF_5;
  LL_GPIO_Init(PMOD_SPI2_SCK_GPIO_Port, &GPIO_InitStruct);

  /**/
  GPIO_InitStruct.Pin = PMOD_UART2_CTS_Pin|PMOD_UART2_RTS_Pin|PMOD_UART2_TX_Pin|PMOD_UART2_RX_Pin;
  GPIO_InitStruct.Mode = LL_GPIO_MODE_ALTERNATE;
  GPIO_InitStruct.Speed = LL_GPIO_SPEED_FREQ_VERY_HIGH;
  GPIO_InitStruct.OutputType = LL_GPIO_OUTPUT_PUSHPULL;
  GPIO_InitStruct.Pull = LL_GPIO_PULL_NO;
  GPIO_InitStruct.Alternate = LL_GPIO_AF_7;
  LL_GPIO_Init(GPIOD, &GPIO_InitStruct);

  /**/
  GPIO_InitStruct.Pin = ARD_D15_Pin|ARD_D14_Pin;
  GPIO_InitStruct.Mode = LL_GPIO_MODE_ALTERNATE;
  GPIO_InitStruct.Speed = LL_GPIO_SPEED_FREQ_VERY_HIGH;
  GPIO_InitStruct.OutputType = LL_GPIO_OUTPUT_OPENDRAIN;
  GPIO_InitStruct.Pull = LL_GPIO_PULL_UP;
  GPIO_InitStruct.Alternate = LL_GPIO_AF_4;
  LL_GPIO_Init(GPIOB, &GPIO_InitStruct);

  /**/
  LL_SYSCFG_SetEXTISource(LL_SYSCFG_EXTI_PORTE, LL_SYSCFG_EXTI_LINE3);

  /**/
  LL_SYSCFG_SetEXTISource(LL_SYSCFG_EXTI_PORTE, LL_SYSCFG_EXTI_LINE5);

  /**/
  LL_SYSCFG_SetEXTISource(LL_SYSCFG_EXTI_PORTE, LL_SYSCFG_EXTI_LINE6);

  /**/
  LL_SYSCFG_SetEXTISource(LL_SYSCFG_EXTI_PORTC, LL_SYSCFG_EXTI_LINE13);

  /**/
  LL_SYSCFG_SetEXTISource(LL_SYSCFG_EXTI_PORTB, LL_SYSCFG_EXTI_LINE0);

  /**/
  LL_SYSCFG_SetEXTISource(LL_SYSCFG_EXTI_PORTD, LL_SYSCFG_EXTI_LINE10);

  /**/
  LL_SYSCFG_SetEXTISource(LL_SYSCFG_EXTI_PORTD, LL_SYSCFG_EXTI_LINE11);

  /**/
  LL_SYSCFG_SetEXTISource(LL_SYSCFG_EXTI_PORTD, LL_SYSCFG_EXTI_LINE14);

  /**/
  LL_SYSCFG_SetEXTISource(LL_SYSCFG_EXTI_PORTD, LL_SYSCFG_EXTI_LINE15);

  /**/
  LL_SYSCFG_SetEXTISource(LL_SYSCFG_EXTI_PORTC, LL_SYSCFG_EXTI_LINE7);

  /**/
  LL_SYSCFG_SetEXTISource(LL_SYSCFG_EXTI_PORTC, LL_SYSCFG_EXTI_LINE8);

  /**/
  LL_SYSCFG_SetEXTISource(LL_SYSCFG_EXTI_PORTD, LL_SYSCFG_EXTI_LINE2);

  /**/
  LL_SYSCFG_SetEXTISource(LL_SYSCFG_EXTI_PORTE, LL_SYSCFG_EXTI_LINE1);

  /**/
  EXTI_InitStruct.Line_0_31 = LL_EXTI_LINE_3;
  EXTI_InitStruct.Line_32_63 = LL_EXTI_LINE_NONE;
  EXTI_InitStruct.LineCommand = ENABLE;
  EXTI_InitStruct.Mode = LL_EXTI_MODE_IT;
  EXTI_InitStruct.Trigger = LL_EXTI_TRIGGER_RISING;
  LL_EXTI_Init(&EXTI_InitStruct);

  /**/
  EXTI_InitStruct.Line_0_31 = LL_EXTI_LINE_5;
  EXTI_InitStruct.Line_32_63 = LL_EXTI_LINE_NONE;
  EXTI_InitStruct.LineCommand = ENABLE;
  EXTI_InitStruct.Mode = LL_EXTI_MODE_IT;
  EXTI_InitStruct.Trigger = LL_EXTI_TRIGGER_RISING;
  LL_EXTI_Init(&EXTI_InitStruct);

  /**/
  EXTI_InitStruct.Line_0_31 = LL_EXTI_LINE_6;
  EXTI_InitStruct.Line_32_63 = LL_EXTI_LINE_NONE;
  EXTI_InitStruct.LineCommand = ENABLE;
  EXTI_InitStruct.Mode = LL_EXTI_MODE_IT;
  EXTI_InitStruct.Trigger = LL_EXTI_TRIGGER_RISING;
  LL_EXTI_Init(&EXTI_InitStruct);

  /**/
  EXTI_InitStruct.Line_0_31 = LL_EXTI_LINE_13;
  EXTI_InitStruct.Line_32_63 = LL_EXTI_LINE_NONE;
  EXTI_InitStruct.LineCommand = ENABLE;
  EXTI_InitStruct.Mode = LL_EXTI_MODE_IT;
  EXTI_InitStruct.Trigger = LL_EXTI_TRIGGER_FALLING;
  LL_EXTI_Init(&EXTI_InitStruct);

  /**/
  EXTI_InitStruct.Line_0_31 = LL_EXTI_LINE_0;
  EXTI_InitStruct.Line_32_63 = LL_EXTI_LINE_NONE;
  EXTI_InitStruct.LineCommand = ENABLE;
  EXTI_InitStruct.Mode = LL_EXTI_MODE_IT;
  EXTI_InitStruct.Trigger = LL_EXTI_TRIGGER_RISING;
  LL_EXTI_Init(&EXTI_InitStruct);

  /**/
  EXTI_InitStruct.Line_0_31 = LL_EXTI_LINE_10;
  EXTI_InitStruct.Line_32_63 = LL_EXTI_LINE_NONE;
  EXTI_InitStruct.LineCommand = ENABLE;
  EXTI_InitStruct.Mode = LL_EXTI_MODE_IT;
  EXTI_InitStruct.Trigger = LL_EXTI_TRIGGER_RISING;
  LL_EXTI_Init(&EXTI_InitStruct);

  /**/
  EXTI_InitStruct.Line_0_31 = LL_EXTI_LINE_11;
  EXTI_InitStruct.Line_32_63 = LL_EXTI_LINE_NONE;
  EXTI_InitStruct.LineCommand = ENABLE;
  EXTI_InitStruct.Mode = LL_EXTI_MODE_IT;
  EXTI_InitStruct.Trigger = LL_EXTI_TRIGGER_RISING;
  LL_EXTI_Init(&EXTI_InitStruct);

  /**/
  EXTI_InitStruct.Line_0_31 = LL_EXTI_LINE_14;
  EXTI_InitStruct.Line_32_63 = LL_EXTI_LINE_NONE;
  EXTI_InitStruct.LineCommand = ENABLE;
  EXTI_InitStruct.Mode = LL_EXTI_MODE_IT;
  EXTI_InitStruct.Trigger = LL_EXTI_TRIGGER_RISING;
  LL_EXTI_Init(&EXTI_InitStruct);

  /**/
  EXTI_InitStruct.Line_0_31 = LL_EXTI_LINE_15;
  EXTI_InitStruct.Line_32_63 = LL_EXTI_LINE_NONE;
  EXTI_InitStruct.LineCommand = ENABLE;
  EXTI_InitStruct.Mode = LL_EXTI_MODE_IT;
  EXTI_InitStruct.Trigger = LL_EXTI_TRIGGER_RISING;
  LL_EXTI_Init(&EXTI_InitStruct);

  /**/
  EXTI_InitStruct.Line_0_31 = LL_EXTI_LINE_7;
  EXTI_InitStruct.Line_32_63 = LL_EXTI_LINE_NONE;
  EXTI_InitStruct.LineCommand = ENABLE;
  EXTI_InitStruct.Mode = LL_EXTI_MODE_IT;
  EXTI_InitStruct.Trigger = LL_EXTI_TRIGGER_RISING;
  LL_EXTI_Init(&EXTI_InitStruct);

  /**/
  EXTI_InitStruct.Line_0_31 = LL_EXTI_LINE_8;
  EXTI_InitStruct.Line_32_63 = LL_EXTI_LINE_NONE;
  EXTI_InitStruct.LineCommand = ENABLE;
  EXTI_InitStruct.Mode = LL_EXTI_MODE_IT;
  EXTI_InitStruct.Trigger = LL_EXTI_TRIGGER_RISING;
  LL_EXTI_Init(&EXTI_InitStruct);

  /**/
  EXTI_InitStruct.Line_0_31 = LL_EXTI_LINE_2;
  EXTI_InitStruct.Line_32_63 = LL_EXTI_LINE_NONE;
  EXTI_InitStruct.LineCommand = ENABLE;
  EXTI_InitStruct.Mode = LL_EXTI_MODE_IT;
  EXTI_InitStruct.Trigger = LL_EXTI_TRIGGER_RISING;
  LL_EXTI_Init(&EXTI_InitStruct);

  /**/
  EXTI_InitStruct.Line_0_31 = LL_EXTI_LINE_1;
  EXTI_InitStruct.Line_32_63 = LL_EXTI_LINE_NONE;
  EXTI_InitStruct.LineCommand = ENABLE;
  EXTI_InitStruct.Mode = LL_EXTI_MODE_IT;
  EXTI_InitStruct.Trigger = LL_EXTI_TRIGGER_RISING;
  LL_EXTI_Init(&EXTI_InitStruct);

  /**/
  LL_GPIO_SetPinPull(USB_OTG_FS_OVRCR_EXTI3_GPIO_Port, USB_OTG_FS_OVRCR_EXTI3_Pin, LL_GPIO_PULL_NO);

  /**/
  LL_GPIO_SetPinPull(SPSGRF_915_GPIO3_EXTI5_GPIO_Port, SPSGRF_915_GPIO3_EXTI5_Pin, LL_GPIO_PULL_NO);

  /**/
  LL_GPIO_SetPinPull(SPBTLE_RF_IRQ_EXTI6_GPIO_Port, SPBTLE_RF_IRQ_EXTI6_Pin, LL_GPIO_PULL_NO);

  /**/
  LL_GPIO_SetPinPull(BUTTON_EXTI13_GPIO_Port, BUTTON_EXTI13_Pin, LL_GPIO_PULL_NO);

  /**/
  LL_GPIO_SetPinPull(ARD_D3_GPIO_Port, ARD_D3_Pin, LL_GPIO_PULL_NO);

  /**/
  LL_GPIO_SetPinPull(LPS22HB_INT_DRDY_EXTI0_GPIO_Port, LPS22HB_INT_DRDY_EXTI0_Pin, LL_GPIO_PULL_NO);

  /**/
  LL_GPIO_SetPinPull(LSM6DSL_INT1_EXTI11_GPIO_Port, LSM6DSL_INT1_EXTI11_Pin, LL_GPIO_PULL_NO);

  /**/
  LL_GPIO_SetPinPull(ARD_D2_GPIO_Port, ARD_D2_Pin, LL_GPIO_PULL_NO);

  /**/
  LL_GPIO_SetPinPull(HTS221_DRDY_EXTI15_GPIO_Port, HTS221_DRDY_EXTI15_Pin, LL_GPIO_PULL_NO);

  /**/
  LL_GPIO_SetPinPull(VL53L0X_GPIO1_EXTI7_GPIO_Port, VL53L0X_GPIO1_EXTI7_Pin, LL_GPIO_PULL_NO);

  /**/
  LL_GPIO_SetPinPull(LSM3MDL_DRDY_EXTI8_GPIO_Port, LSM3MDL_DRDY_EXTI8_Pin, LL_GPIO_PULL_NO);

  /**/
  LL_GPIO_SetPinPull(PMOD_IRQ_EXTI12_GPIO_Port, PMOD_IRQ_EXTI12_Pin, LL_GPIO_PULL_NO);

  /**/
  LL_GPIO_SetPinPull(ISM43362_DRDY_EXTI1_GPIO_Port, ISM43362_DRDY_EXTI1_Pin, LL_GPIO_PULL_NO);

  /**/
  LL_GPIO_SetPinMode(USB_OTG_FS_OVRCR_EXTI3_GPIO_Port, USB_OTG_FS_OVRCR_EXTI3_Pin, LL_GPIO_MODE_INPUT);

  /**/
  LL_GPIO_SetPinMode(SPSGRF_915_GPIO3_EXTI5_GPIO_Port, SPSGRF_915_GPIO3_EXTI5_Pin, LL_GPIO_MODE_INPUT);

  /**/
  LL_GPIO_SetPinMode(SPBTLE_RF_IRQ_EXTI6_GPIO_Port, SPBTLE_RF_IRQ_EXTI6_Pin, LL_GPIO_MODE_INPUT);

  /**/
  LL_GPIO_SetPinMode(BUTTON_EXTI13_GPIO_Port, BUTTON_EXTI13_Pin, LL_GPIO_MODE_INPUT);

  /**/
  LL_GPIO_SetPinMode(ARD_D3_GPIO_Port, ARD_D3_Pin, LL_GPIO_MODE_INPUT);

  /**/
  LL_GPIO_SetPinMode(LPS22HB_INT_DRDY_EXTI0_GPIO_Port, LPS22HB_INT_DRDY_EXTI0_Pin, LL_GPIO_MODE_INPUT);

  /**/
  LL_GPIO_SetPinMode(LSM6DSL_INT1_EXTI11_GPIO_Port, LSM6DSL_INT1_EXTI11_Pin, LL_GPIO_MODE_INPUT);

  /**/
  LL_GPIO_SetPinMode(ARD_D2_GPIO_Port, ARD_D2_Pin, LL_GPIO_MODE_INPUT);

  /**/
  LL_GPIO_SetPinMode(HTS221_DRDY_EXTI15_GPIO_Port, HTS221_DRDY_EXTI15_Pin, LL_GPIO_MODE_INPUT);

  /**/
  LL_GPIO_SetPinMode(VL53L0X_GPIO1_EXTI7_GPIO_Port, VL53L0X_GPIO1_EXTI7_Pin, LL_GPIO_MODE_INPUT);

  /**/
  LL_GPIO_SetPinMode(LSM3MDL_DRDY_EXTI8_GPIO_Port, LSM3MDL_DRDY_EXTI8_Pin, LL_GPIO_MODE_INPUT);

  /**/
  LL_GPIO_SetPinMode(PMOD_IRQ_EXTI12_GPIO_Port, PMOD_IRQ_EXTI12_Pin, LL_GPIO_MODE_INPUT);

  /**/
  LL_GPIO_SetPinMode(ISM43362_DRDY_EXTI1_GPIO_Port, ISM43362_DRDY_EXTI1_Pin, LL_GPIO_MODE_INPUT);

  /**/
  LL_GPIO_EnablePinAnalogControl(GPIOC, ARD_A5_Pin|ARD_A4_Pin|ARD_A3_Pin|ARD_A2_Pin
                          |ARD_A1_Pin|ARD_A0_Pin);

  /* EXTI interrupt init*/
  NVIC_SetPriority(EXTI9_5_IRQn, NVIC_EncodePriority(NVIC_GetPriorityGrouping(),0, 0));
  NVIC_EnableIRQ(EXTI9_5_IRQn);
  NVIC_SetPriority(EXTI15_10_IRQn, NVIC_EncodePriority(NVIC_GetPriorityGrouping(),0, 0));
  NVIC_EnableIRQ(EXTI15_10_IRQn);

}

void Error_Handler(void)
{
}

/************************ (C) COPYRIGHT STMicroelectronics *****END OF FILE****/
